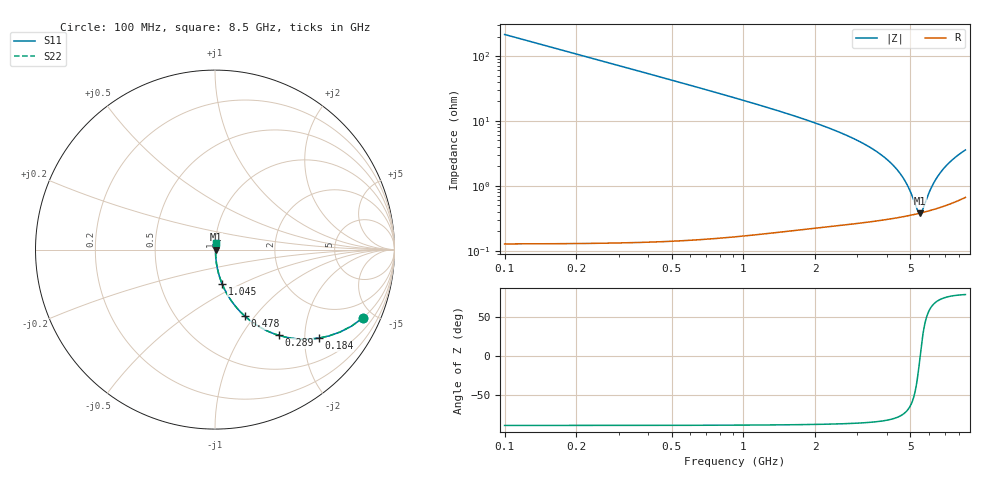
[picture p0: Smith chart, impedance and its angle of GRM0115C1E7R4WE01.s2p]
!Murata Part Number: GRM0115C1E7R4WE01
!These Parameters are Measured in Series Mode Connection
!Data Generated on Mar 30, 2021
!  o--ll--o
!Port1  Port2
!  o------o
!Operation Temp=25[degC], DC Bias Voltage=0[V]
!Freq. Start=100[MHz] Stop=9[GHz] 401[Steps]
# Hz S RI R 50
!Freq.(Hz) S11(Real) S11(Imag) S21(Real) S21(Imag) S12(Real) S12(Imag) S22(Real) S22(Imag)
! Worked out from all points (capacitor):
!   401 points, 100 MHz to 8.5 GHz, reference 50 ohm
!   read as one part in series: C = 7.4 pF near 142 MHz
!   lowest |Z| = 380 mohm at 5.476 GHz (marker M1)
!   series resonance near 5.496 GHz, so ESL is about 110 pH
!   S11 on the Smith chart (normalised r, x): 100 MHz: 1.00, -4.30; 184 MHz: 1.00, -2.33; 289 MHz: 1.00, -1.48; 478 MHz: 1.00, -0.89; 1.045 GHz: 1.00, -0.40; 8.5 GHz: 1.01, +0.07
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1e8  0.822 -0.3822  0.178 0.3822  0.178 0.3822  0.822 -0.3822
1.84e8  0.5767 -0.4935  0.4233 0.4935  0.4233 0.4935  0.5767 -0.4935
2.89e8  0.3553 -0.4777  0.6447 0.4777  0.6447 0.4777  0.3553 -0.4777
3.73e8  0.2481 -0.4308  0.7519 0.4308  0.7519 0.4308  0.2481 -0.4308
4.78e8  0.1668 -0.3713  0.8332 0.3713  0.8332 0.3713  0.1668 -0.3713
7.09e8  0.0827 -0.2728  0.9173 0.2728  0.9173 0.2728  0.0827 -0.2728
1.045e9  0.0392 -0.1898  0.9608 0.1898  0.9608 0.1898  0.0392 -0.1898
1.507e9  0.0189 -0.1288  0.9811 0.1288  0.9811 0.1288  0.0189 -0.1288
2.914e9  0.00535 -0.0524  0.9946 0.0524  0.9946 0.0524  0.00535 -0.0524
3.733e9  0.00386 -0.0307  0.9961 0.0307  0.9961 0.0307  0.00386 -0.0307
4.3e9  0.00353 -0.0192  0.9965 0.0192  0.9965 0.0192  0.00353 -0.0192
4.804e9  0.00351 -0.0105  0.9965 0.0105  0.9965 0.0105  0.00351 -0.0105
5.35e9  0.00371 -0.00208  0.9963 0.00208  0.9963 0.00208  0.00371 -0.00208
5.476e9  0.00378 -0.000282  0.9962 0.000282  0.9962 0.000282  0.00378 -0.000282
5.581e9  0.00384 0.00119  0.9962 -0.00119  0.9962 -0.00119  0.00384 0.00119
5.707e9  0.00393 0.00292  0.9961 -0.00292  0.9961 -0.00292  0.00393 0.00292
6.001e9  0.00416 0.00682  0.9958 -0.00682  0.9958 -0.00682  0.00416 0.00682
6.295e9  0.00444 0.0105  0.9956 -0.0105  0.9956 -0.0105  0.00444 0.0105
6.673e9  0.00486 0.0151  0.9951 -0.0151  0.9951 -0.0151  0.00486 0.0151
7.114e9  0.00543 0.0202  0.9946 -0.0202  0.9946 -0.0202  0.00543 0.0202
7.744e9  0.00639 0.027  0.9936 -0.027  0.9936 -0.027  0.00639 0.027
8.5e9  0.0078 0.0346  0.9922 -0.0346  0.9922 -0.0346  0.0078 0.0346
